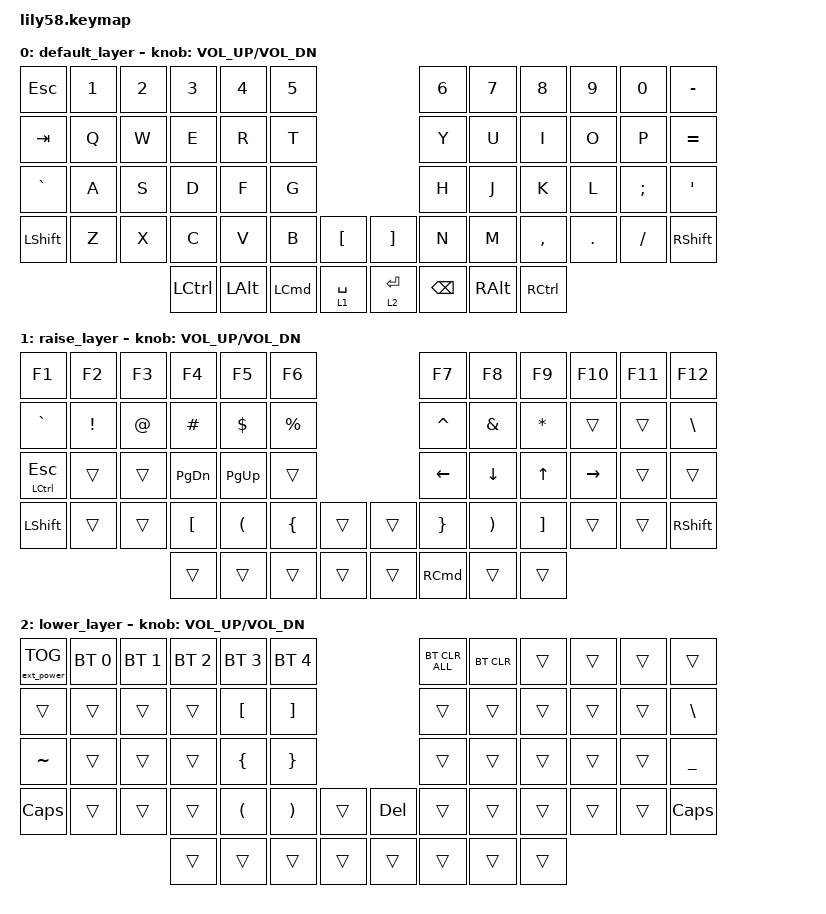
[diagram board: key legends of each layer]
/*
 * Copyright (c) 2020 The ZMK Contributors
 *
 * SPDX-License-Identifier: MIT
 */

#include <behaviors.dtsi>
#include <dt-bindings/zmk/bt.h>
#include <dt-bindings/zmk/ext_power.h>
#include <dt-bindings/zmk/keys.h>

/ {
    // Combo keys are a way to combine multiple keypresses to output a different key.

    combos {
        compatible = "zmk,combos";

        combo_clear_bluetooth {
            timeout-ms = <50>; // Press all the below keys within 50ms to activate mapping
            key-positions = <52 42 0>; // Press 52=LOWER, 42=[, 0=tilde
            bindings = <&bt BT_CLR>; // activate clear bluetooth bindings for current channel
        };
    };

    keymap {
        compatible = "zmk,keymap";

        default_layer {
            // ------------------------------------------------------------------------------------------------------------
            // |   `      |  1  |  2  |  3   |  4   |  5   |                   |  6   |  7    |  8    |  9   |   0   |   -   |
            // |  TAB     |  Q  |  W  |  E   |  R   |  T   |                   |  Y   |  U    |  I    |  O   |   P   |   =   |
            // |hCTRL tESC|  A  |  S  |  D   |  F   |  G   |                   |  H   |  J    |  K    |  L   |   ;   |   '   |
            // | SHIFT    |  Z  |  X  |  C   |  V   |  B   |   "["  |  |  "]"  |  N   |  M    |  ,    |  .   |   /   | SHIFT |
            //                        | ALT  | GUI  | LOWER|  SPACE |  | BSPC  | ENTER| RAISE | CTRL  |

            bindings = <
&kp ESC    &kp N1  &kp N2  &kp N3            &kp N4        &kp N5                                        &kp N6         &kp N7         &kp N8             &kp N9   &kp N0    &kp MINUS
&kp TAB    &kp Q   &kp W   &kp E             &kp R         &kp T                                         &kp Y          &kp U          &kp I              &kp O    &kp P     &kp EQUAL
&kp GRAVE  &kp A   &kp S   &kp D             &kp F         &kp G                                         &kp H          &kp J          &kp K              &kp L    &kp SEMI  &kp SQT
&kp LSHFT  &kp Z   &kp X   &kp C             &kp V         &kp B             &kp LBKT       &kp RBKT     &kp N          &kp M          &kp COMMA          &kp DOT  &kp FSLH  &kp RSHFT
                           &kp LEFT_CONTROL  &kp LEFT_ALT  &kp LEFT_COMMAND  &lt 1 SPACE    &lt 2 ENTER  &kp BACKSPACE  &kp RIGHT_ALT  &kp RIGHT_CONTROL
            >;

            sensor-bindings = <&inc_dec_kp C_VOL_UP C_VOL_DN>;
        };

        raise_layer {
            // ------------------------------------------------------------------------------------------------------------
            // |  F12    |  F1 |  F2 |  F3  |  F4  |  F5  |                   |  F6  |   F7  |   F8  |  F9  |  F10  |  F11  |
            // |   `     |  1  |  2  |  3   |  4   |  5   |                   |  6   |   7   |   8   |  9   |   0   |   -   |
            // |CTRL/ESC |     |     |      |      |      |                   |  <-  |   ^   |   v   |  ->  |       |       |
            // | SHIFT   |     |     |      |      |      |        |  |       |  +   |   -   |   =   |  [   |   ]   |   \   |
            //                       |      |      |      |        |  |       |      |       |       |

            bindings = <
&kp F1          &kp F2    &kp F3  &kp F4            &kp F5                &kp F6                            &kp F7             &kp F8                 &kp F9             &kp F10    &kp F11  &kp F12
&kp GRAVE       &kp EXCL  &kp AT  &kp HASH          &kp DOLLAR            &kp PERCENT                       &kp CARET          &kp AMPS               &kp ASTRK          &trans     &trans   &kp BACKSLASH
&mt LCTRL ESC   &trans    &trans  &kp PG_DN         &kp PG_UP             &trans                            &kp LEFT           &kp DOWN               &kp UP_ARROW       &kp RIGHT  &trans   &trans
&kp LEFT_SHIFT  &trans    &trans  &kp LEFT_BRACKET  &kp LEFT_PARENTHESIS  &kp LEFT_BRACE  &trans    &trans  &kp RIGHT_BRACE    &kp RIGHT_PARENTHESIS  &kp RIGHT_BRACKET  &trans     &trans   &kp RSHIFT
                                  &trans            &trans                &trans          &trans    &trans  &kp RIGHT_COMMAND  &trans                 &trans
            >;

            sensor-bindings = <&inc_dec_kp C_VOL_UP C_VOL_DN>;
        };

        lower_layer {
            // ------------------------------------------------------------------------------------------------------------
            // | EXT PWR TOGGLE | BT1     | BT2    |  BT3 |  BT4  |  BT5 |                    |      |       |       |      |       |       |
            // |                |         |        |      |       |      |                    |      |       |       |      |       |   \   |
            // |   ~            |  !      |  @     |  #   |  $    |  %   |                    |  ^   |  &    |  *    |  (   |   )   |   _   |
            // | SHIFT          |  EP_ON  | EP_OFF |      |  (    |  {   |       |  |   DEL   |  }   |  )    |  +    |  {   |   }   | SHIFT |
            //                                     |      |       |      |       |  |         |      |       |       |

            bindings = <
&ext_power EP_TOG  &bt BT_SEL 0  &bt BT_SEL 1  &bt BT_SEL 2  &bt BT_SEL 3          &bt BT_SEL 4                              &bt BT_CLR_ALL  &bt BT_CLR  &trans  &trans  &trans  &trans
&trans             &trans        &trans        &trans        &kp LEFT_BRACKET      &kp RIGHT_BRACKET                         &trans          &trans      &trans  &trans  &trans  &kp BSLH
&kp TILDE          &trans        &trans        &trans        &kp LEFT_BRACE        &kp RIGHT_BRACE                           &trans          &trans      &trans  &trans  &trans  &kp UNDER
&kp CAPSLOCK       &trans        &trans        &trans        &kp LEFT_PARENTHESIS  &kp RIGHT_PARENTHESIS  &trans    &kp DEL  &trans          &trans      &trans  &trans  &trans  &kp CAPSLOCK
                                               &trans        &trans                &trans                 &trans    &trans   &trans          &trans      &trans
            >;

            sensor-bindings = <&inc_dec_kp C_VOL_UP C_VOL_DN>;
        };
    };
};
